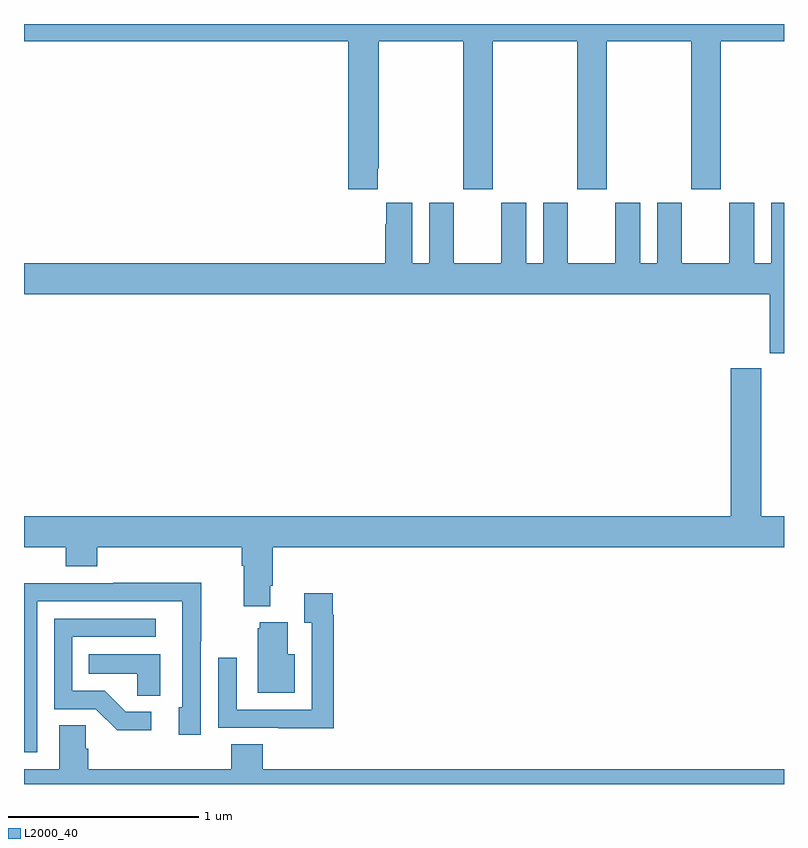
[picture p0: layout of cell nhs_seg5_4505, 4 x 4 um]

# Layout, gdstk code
import gdstk
lib = gdstk.Library(unit=1e-6, precision=1e-09)
def P(c, l, *ps):  # polygons
    for p in ps: c.add(gdstk.Polygon(p, *l))
L2000_40 = (2000, 40)

nhs_seg5_4505 = lib.new_cell('nhs_seg5_4505')
P(nhs_seg5_4505, L2000_40, [(376.861,908.041),(376.866,908.041),(376.866,908.708),(377.311,908.708),(377.311,907.929),(377.466,907.929),(377.466,908.708),(377.911,908.708),(377.911,907.929),(378.066,907.929),(378.066,908.708),(378.511,908.708),(378.511,907.929),(378.666,907.929),(378.666,908.708),(379,908.708),(379,908.799),(375,908.799),(375,908.708),(376.706,908.708),(376.706,907.929),(376.861,907.929)],
  [(379,907.858),(378.932,907.858),(378.932,907.54),(378.844,907.54),(378.844,907.858),(378.713,907.858),(378.713,907.54),(378.463,907.54),(378.463,907.858),(378.332,907.858),(378.332,907.54),(378.244,907.54),(378.244,907.858),(378.113,907.858),(378.113,907.54),(377.863,907.54),(377.863,907.858),(377.732,907.858),(377.732,907.54),(377.644,907.54),(377.644,907.858),(377.513,907.858),(377.513,907.54),(377.263,907.54),(377.263,907.858),(377.132,907.858),(377.132,907.54),(377.044,907.54),(377.044,907.858),(376.907,907.858),(376.907,907.745),(376.901,907.745),(376.901,907.54),(375,907.54),(375,907.376),(378.926,907.376),(378.926,907.067),(379,907.067)],
  [(376.297,905.842),(376.31,905.842),(376.31,906.044),(379,906.044),(379,906.208),(378.879,906.208),(378.879,906.988),(378.719,906.988),(378.719,906.208),(375,906.208),(375,906.044),(375.221,906.044),(375.221,905.945),(375.386,905.945),(375.386,906.044),(376.145,906.044),(376.145,905.948),(376.157,905.948),(376.157,905.735),(376.297,905.735)],
  [(375.069,905.76),(375.834,905.76),(375.834,905.202),(375.815,905.202),(375.815,905.058),(375.93,905.058),(375.93,905.551),(375.933,905.551),(375.933,905.858),(375.469,905.858),(375.469,905.856),(375,905.856),(375,904.965),(375.069,904.965)],
  [(376.631,905.69),(376.624,905.69),(376.624,905.803),(376.475,905.803),(376.475,905.647),(376.515,905.647),(376.515,905.19),(376.119,905.19),(376.119,905.464),(376.023,905.464),(376.023,905.094),(376.339,905.094),(376.339,905.093),(376.631,905.093)],
  [(375.67,905.178),(375.535,905.178),(375.424,905.289),(375.255,905.289),(375.255,905.574),(375.694,905.574),(375.694,905.67),(375.159,905.67),(375.159,905.193),(375.378,905.193),(375.491,905.081),(375.67,905.081)],
  [(376.426,905.482),(376.387,905.482),(376.387,905.65),(376.241,905.65),(376.241,905.619),(376.229,905.619),(376.229,905.279),(376.426,905.279)],
  [(375.718,905.482),(375.34,905.482),(375.34,905.378),(375.597,905.378),(375.597,905.263),(375.718,905.263)],
  [(379,904.876),(376.256,904.876),(376.256,905.009),(376.091,905.009),(376.091,904.876),(375.338,904.876),(375.338,904.985),(375.324,904.985),(375.324,905.108),(375.185,905.108),(375.185,904.876),(375,904.876),(375,904.799),(379,904.799)])

lib.write_gds('nhs_seg5_4505.gds')
